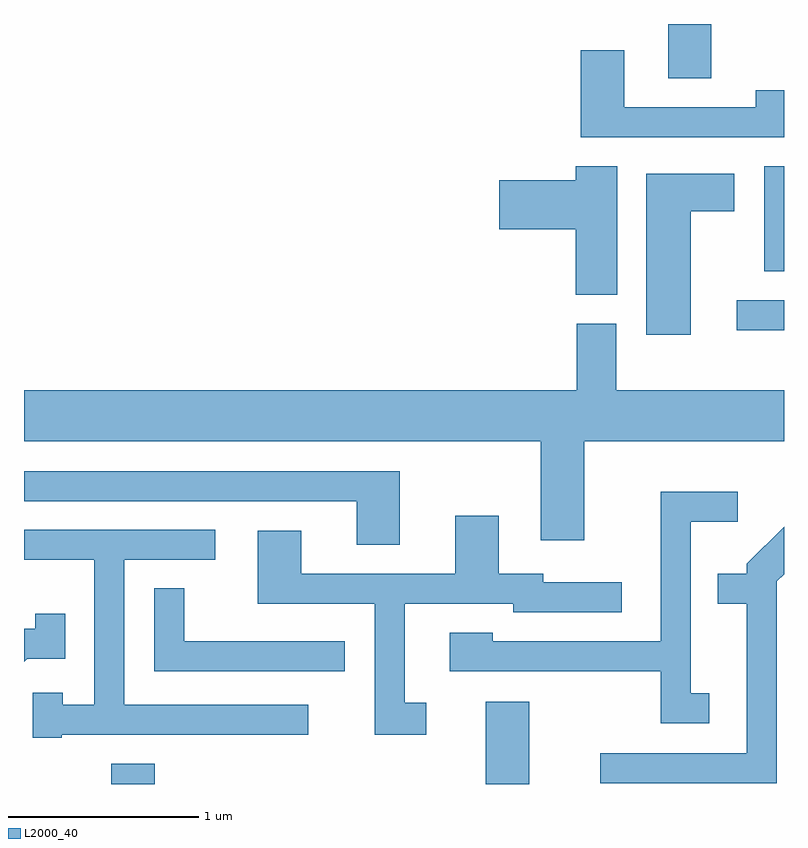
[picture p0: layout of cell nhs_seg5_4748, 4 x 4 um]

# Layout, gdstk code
import gdstk
lib = gdstk.Library(unit=1e-6, precision=1e-09)
def R(c, l, rs):  # rectangles x0, y0, x1, y1
    for r in rs: c.add(gdstk.rectangle(r[:2], r[2:], *l))
def P(c, l, *ps):  # polygons
    for p in ps: c.add(gdstk.Polygon(p, *l))
L2000_40 = (2000, 40)

nhs_seg5_4748 = lib.new_cell('nhs_seg5_4748')
R(nhs_seg5_4748, L2000_40, [(326.071,1486.072,326.299,1486.179), (328.041,1486.072,328.269,1486.504), (329.363,1488.461,329.611,1488.619), (329.506,1488.771,329.611,1489.324), (329.001,1489.786,329.229,1490.072)])
P(nhs_seg5_4748, L2000_40, [(329.611,1489.724),(329.461,1489.724),(329.461,1489.634),(328.769,1489.634),(328.769,1489.934),(328.541,1489.934),(328.541,1489.476),(329.611,1489.476)],
  [(328.734,1489.324),(328.516,1489.324),(328.516,1489.249),(328.111,1489.249),(328.111,1488.991),(328.516,1488.991),(328.516,1488.646),(328.734,1488.646)],
  [(329.119,1489.086),(329.349,1489.086),(329.349,1489.284),(328.886,1489.284),(328.886,1488.436),(329.119,1488.436)],
  [(328.559,1487.876),(329.611,1487.876),(329.611,1488.144),(328.729,1488.144),(328.729,1488.494),(328.521,1488.494),(328.521,1488.144),(325.611,1488.144),(325.611,1487.876),(328.331,1487.876),(328.331,1487.356),(328.559,1487.356)],
  [(327.589,1487.719),(325.611,1487.719),(325.611,1487.561),(327.361,1487.561),(327.361,1487.331),(327.589,1487.331)],
  [(329.218,1486.549),(329.119,1486.549),(329.119,1487.451),(329.368,1487.451),(329.368,1487.609),(328.961,1487.609),(328.961,1486.824),(328.079,1486.824),(328.079,1486.869),(327.851,1486.869),(327.851,1486.666),(328.961,1486.666),(328.961,1486.391),(329.218,1486.391)],
  [(327.728,1486.499),(327.614,1486.499),(327.614,1487.021),(328.186,1487.021),(328.186,1486.976),(328.758,1486.976),(328.758,1487.134),(328.344,1487.134),(328.344,1487.179),(328.109,1487.179),(328.109,1487.484),(327.881,1487.484),(327.881,1487.179),(327.069,1487.179),(327.069,1487.404),(326.841,1487.404),(326.841,1487.021),(327.456,1487.021),(327.456,1486.331),(327.728,1486.331)],
  [(329.574,1487.139),(329.611,1487.176),(329.611,1487.426),(329.416,1487.232),(329.416,1487.179),(329.263,1487.179),(329.263,1487.021),(329.416,1487.021),(329.416,1486.234),(328.643,1486.234),(328.643,1486.076),(329.574,1486.076)],
  [(325.81,1486.331),(327.108,1486.331),(327.108,1486.489),(326.139,1486.489),(326.139,1487.251),(326.618,1487.251),(326.618,1487.409),(325.611,1487.409),(325.611,1487.251),(325.981,1487.251),(325.981,1486.489),(325.814,1486.489),(325.814,1486.553),(325.656,1486.553),(325.656,1486.316),(325.81,1486.316)],
  [(327.298,1486.824),(326.454,1486.824),(326.454,1487.103),(326.296,1487.103),(326.296,1486.666),(327.298,1486.666)],
  [(325.627,1486.731),(325.829,1486.731),(325.829,1486.968),(325.671,1486.968),(325.671,1486.889),(325.611,1486.889),(325.611,1486.715)])

lib.write_gds('nhs_seg5_4748.gds')
